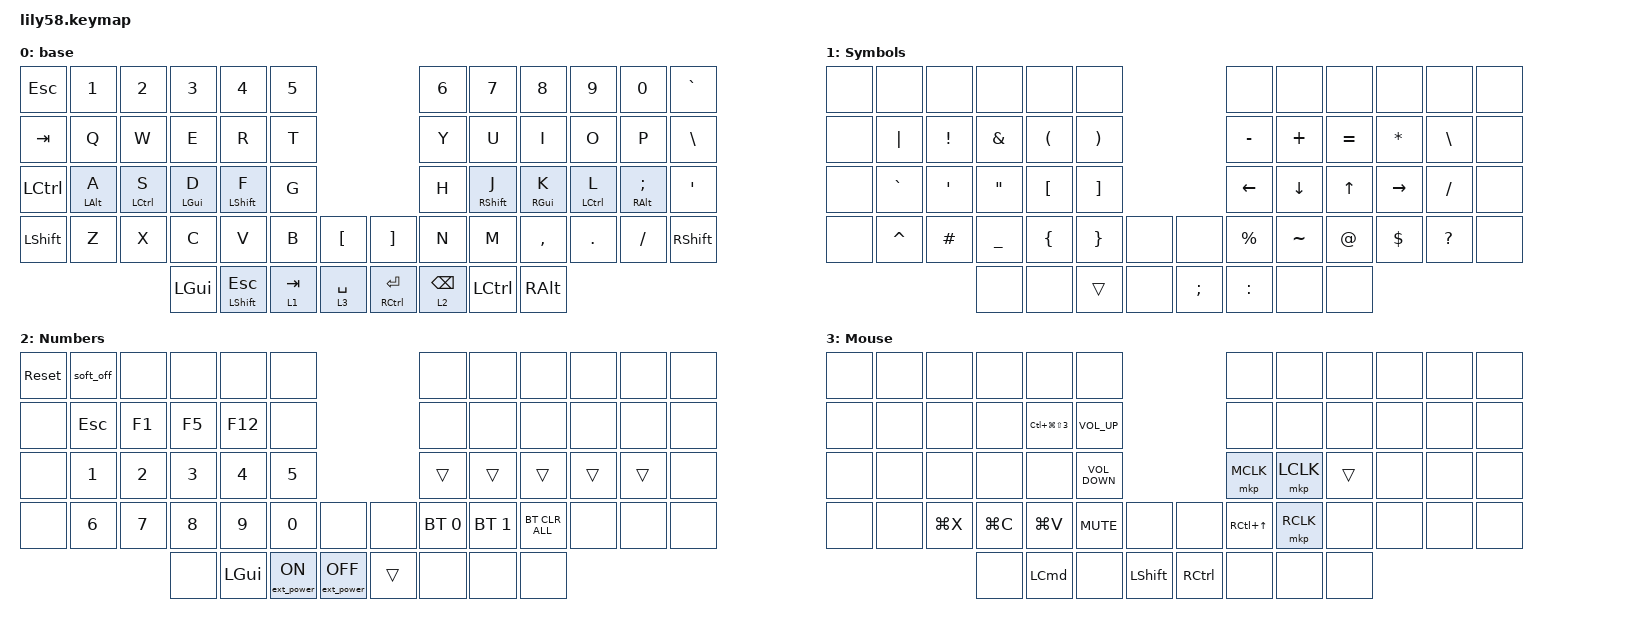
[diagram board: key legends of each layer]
/*
 * Copyright (c) 2020 The ZMK Contributors
 *
 * SPDX-License-Identifier: MIT
 */

#include <behaviors.dtsi>
#include <dt-bindings/zmk/bt.h>
#include <dt-bindings/zmk/ext_power.h>
#include <dt-bindings/zmk/keys.h>
#include <dt-bindings/zmk/mouse.h>

&mt {
    tapping-term-ms = <250>;
    quick-tap-ms = <250>;
    flavor = "tap-preferred";
};

&lt {
    tapping-term-ms = <250>;
    quick-tap-ms = <250>;
};

/ {
    behaviors {
        hrm_left: hrm_left {
            compatible = "zmk,behavior-hold-tap";
            label = "Homerow Mods Left";
            bindings = <&kp>, <&kp>;

            #binding-cells = <2>;
            hold-trigger-key-positions = <6 7 8 9 10 11 18 19 20 21 22 23 30 31 32 33 34 35 43 44 45 46 47 48 49 54 55 56 57>;
            tapping-term-ms = <250>;
            quick-tap-ms = <250>;
            flavor = "tap-preferred";
        };

        hrm_right: hrm_right {
            compatible = "zmk,behavior-hold-tap";
            label = "Homerow Mods Right";
            bindings = <&kp>, <&kp>;

            #binding-cells = <2>;
            tapping-term-ms = <250>;
            quick-tap-ms = <250>;
            flavor = "tap-preferred";
            hold-trigger-key-positions = <0 1 2 3 4 5 12 13 14 15 16 17 24 25 26 27 28 29 36 37 38 39 40 41 42 50 51 52 53>;
        };
    };

    keymap {
        compatible = "zmk,keymap";

        base {
            bindings = <
&kp ESC    &kp N1            &kp N2             &kp N3            &kp N4              &kp N5                                     &kp N6           &kp N7                    &kp N8             &kp N9              &kp N0                          &kp GRAVE
&kp TAB    &kp Q             &kp W              &kp E             &kp R               &kp T                                      &kp Y            &kp U                     &kp I              &kp O               &kp P                           &kp BSLH
&kp LCTRL  &hrm_left LALT A  &hrm_left LCTRL S  &hrm_left LGUI D  &hrm_left LSHIFT F  &kp G                                      &kp H            &hrm_right RIGHT_SHIFT J  &hrm_right RGUI K  &hrm_right LCTRL L  &hrm_right RIGHT_ALT SEMICOLON  &kp APOS
&kp LSHFT  &kp Z             &kp X              &kp C             &kp V               &kp B      &kp LBKT       &kp RBKT         &kp N            &kp M                     &kp COMMA          &kp PERIOD          &kp SLASH                       &kp RSHFT
                                                &kp LGUI          &mt LSHIFT ESC      &lt 1 TAB  &lt 3 SPACE    &mt RCTRL ENTER  &lt 2 BACKSPACE  &kp LCTRL                 &kp RALT
            >;
        };

        Symbols {
            bindings = <
&none  &none      &none            &none              &none                 &none                                     &none        &none      &none        &none         &none          &none
&none  &kp PIPE   &kp EXCLAMATION  &kp AMPERSAND      &kp LEFT_PARENTHESIS  &kp RIGHT_PARENTHESIS                     &kp MINUS    &kp PLUS   &kp EQUAL    &kp ASTERISK  &kp BACKSLASH  &none
&none  &kp GRAVE  &kp SQT          &kp DOUBLE_QUOTES  &kp LEFT_BRACKET      &kp RIGHT_BRACKET                         &kp LEFT     &kp DOWN   &kp UP       &kp RIGHT     &kp SLASH      &none
&none  &kp CARET  &kp POUND        &kp UNDER          &kp LEFT_BRACE        &kp RIGHT_BRACE        &none    &none     &kp PERCENT  &kp TILDE  &kp AT_SIGN  &kp DOLLAR    &kp QUESTION   &none
                                   &none              &none                 &trans                 &none    &kp SEMI  &kp COLON    &none      &none
            >;
        };

        Numbers {
            bindings = <
&sys_reset  &soft_off  &none   &none   &none     &none                                          &none         &none         &none           &none   &none   &none
&none       &kp ESC    &kp F1  &kp F5  &kp F12   &none                                          &none         &none         &none           &none   &none   &none
&none       &kp N1     &kp N2  &kp N3  &kp N4    &kp N5                                         &trans        &trans        &trans          &trans  &trans  &none
&none       &kp N6     &kp N7  &kp N8  &kp N9    &kp N0            &none                &none   &bt BT_SEL 0  &bt BT_SEL 1  &bt BT_CLR_ALL  &none   &none   &none
                               &none   &kp LGUI  &ext_power EP_ON  &ext_power EP_OFF    &trans  &none         &none         &none
            >;
        };

        Mouse {
            bindings = <
&none  &none  &none      &none      &none                     &none                                       &none             &none      &none   &none  &none  &none
&none  &none  &none      &none      &kp LC(LG(LS(NUMBER_3)))  &kp C_VOLUME_UP                             &none             &none      &none   &none  &none  &none
&none  &none  &none      &none      &none                     &kp C_VOLUME_DOWN                           &mkp MCLK         &mkp LCLK  &trans  &none  &none  &none
&none  &none  &kp LG(X)  &kp LG(C)  &kp LG(V)                 &kp K_MUTE         &none         &none      &kp RC(UP_ARROW)  &mkp RCLK  &none   &none  &none  &none
                         &none      &kp LCMD                  &none              &kp LSHIFT    &kp RCTRL  &none             &none      &none
            >;
        };
    };
};
